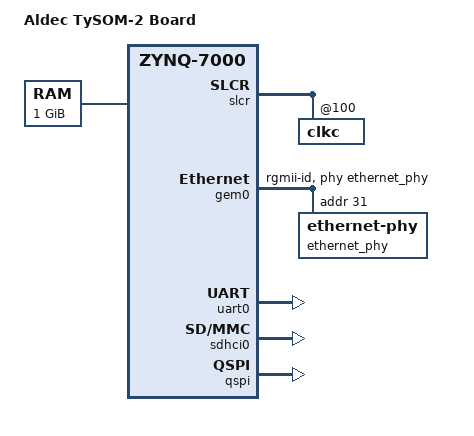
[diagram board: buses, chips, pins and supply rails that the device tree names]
/*
 * Aldec TySOM-2 board DTS
 *
 * Copyright (C) 2016 Aldec, Inc.
 *
 * SPDX-License-Identifier:	GPL-2.0+
 */
/dts-v1/;
#include "zynq-7000.dtsi"

/ {
	model = "Aldec TySOM-2 Board";
	compatible = "aldec,zynq-tysom-2", "xlnx,zynq-7000";

	aliases {
		ethernet0 = &gem0;
		serial0 = &uart0;
		mmc0 = &sdhci0;
		spi0 = &qspi;
	};

	memory {
		device_type = "memory";
		reg = <0 0x40000000>;
	};
};
&slcr {
        clkc@100 {
                fclk-enable = <0xf>;
				ps-clk-frequency=<50000000>;
        };
};

&gem0 {
	status = "okay";
	phy-mode = "rgmii-id";
	phy-handle = <&ethernet_phy>;
	phy-reset-gpio = <&gpio0 13 0>;
	phy-reset-active-low;
	ethernet_phy: ethernet-phy@1f {
    	device_type = "ethernet-phy";
	    reg = <0x1f>;
	};
};

&uart0 {
	u-boot,dm-pre-reloc;
	status = "okay";
};

&sdhci0 {
	u-boot,dm-pre-reloc;
	status = "okay";
};

&qspi {
	u-boot,dm-pre-reloc;
	status = "okay";
};

